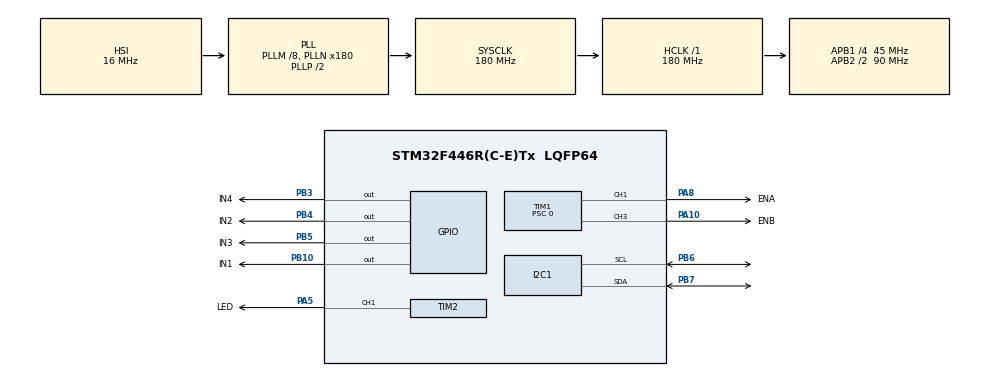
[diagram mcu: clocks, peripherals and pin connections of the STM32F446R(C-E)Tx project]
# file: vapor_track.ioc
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FREERTOS.Tasks01=Task1,8,128,StartDefaultTask,Default,NULL,Dynamic,NULL,NULL;Task2,16,128,StartTask02,Default,NULL,Dynamic,NULL,NULL;Task3,24,128,StartTask03,Default,NULL,Dynamic,NULL,NULL;Task4,32,128,StartTask04,Default,NULL,Dynamic,NULL,NULL
Mcu.Family=STM32F4
Mcu.Name=STM32F446R(C-E)Tx
Mcu.Package=LQFP64
NVIC.PriorityGroup=NVIC_PRIORITYGROUP_4
NVIC.TIM6_DAC_IRQn=true\:15\:0\:false\:false\:true\:false\:false\:true\:true
NVIC.TimeBase=TIM6_DAC_IRQn
NVIC.TimeBaseIP=TIM6
PA10.GPIO_Label=ENB
PA10.Signal=S_TIM1_CH3
PA13.Mode=Serial_Wire
PA13.Signal=SYS_JTMS-SWDIO
PA14.Mode=Serial_Wire
PA14.Signal=SYS_JTCK-SWCLK
PA5.GPIO_Label=LED
PA5.Signal=S_TIM2_CH1_ETR
PA8.GPIO_Label=ENA
PA8.Signal=S_TIM1_CH1
PB10.GPIO_Label=IN1
PB10.Signal=GPIO_Output
PB3.GPIO_Label=IN4
PB3.Signal=GPIO_Output
PB4.GPIO_Label=IN2
PB4.Signal=GPIO_Output
PB5.GPIO_Label=IN3
PB5.Signal=GPIO_Output
PB6.Mode=I2C
PB6.Signal=I2C1_SCL
PB7.Mode=I2C
PB7.Signal=I2C1_SDA
ProjectManager.HeapSize=0x200
ProjectManager.StackSize=0x400
ProjectManager.TargetToolchain=CMake
RCC.AHBFreq_Value=180000000
RCC.APB1CLKDivider=RCC_HCLK_DIV4
RCC.APB1Freq_Value=45000000
RCC.APB1TimFreq_Value=90000000
RCC.APB2CLKDivider=RCC_HCLK_DIV2
RCC.APB2Freq_Value=90000000
RCC.APB2TimFreq_Value=180000000
RCC.CortexFreq_Value=180000000
RCC.HCLKFreq_Value=180000000
RCC.PLLM=8
RCC.PLLN=180
RCC.SYSCLKFreq_VALUE=180000000
RCC.SYSCLKSource=RCC_SYSCLKSOURCE_PLLCLK
RCC.USBFreq_Value=180000000
RCC.VCOOutputFreq_Value=360000000
SH.S_TIM1_CH1.0=TIM1_CH1,PWM Generation1 CH1
SH.S_TIM1_CH3.0=TIM1_CH3,PWM Generation3 CH3
SH.S_TIM2_CH1_ETR.0=TIM2_CH1,PWM Generation1 CH1
TIM1.AutoReloadPreload=TIM_AUTORELOAD_PRELOAD_ENABLE
TIM1.Channel-PWM\ Generation1\ CH1=TIM_CHANNEL_1
TIM1.Channel-PWM\ Generation3\ CH3=TIM_CHANNEL_3
TIM1.Period=8999
TIM1.Prescaler=0
TIM1.Pulse-PWM\ Generation1\ CH1=4500
TIM2.Channel-PWM\ Generation1\ CH1=TIM_CHANNEL_1
TIM2.Period=65535
VP_FREERTOS_VS_CMSIS_V2.Mode=CMSIS_V2
VP_SYS_VS_tim6.Mode=TIM6
board=custom

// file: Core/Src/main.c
/* USER CODE BEGIN Header */
/**
 ******************************************************************************
 * @file           : main.c
 * @brief          : Main program body
 ******************************************************************************
 * @attention
 *
 * Copyright (c) 2026 STMicroelectronics.
 * All rights reserved.
 *
 * This software is licensed under terms that can be found in the LICENSE file
 * in the root directory of this software component.
 * If no LICENSE file comes with this software, it is provided AS-IS.
 *
 ******************************************************************************
 */
/* USER CODE END Header */
#include "main.h"
#include "cmsis_os.h"

/* USER CODE BEGIN Includes */
#include "auto.h"
#include "cmsis_os2.h"

/* USER CODE END Includes */

I2C_HandleTypeDef hi2c1;

TIM_HandleTypeDef htim1;
TIM_HandleTypeDef htim2;

/* Definitions for Task1 */
osThreadId_t Task1Handle;
const osThreadAttr_t Task1_attributes = {
    .name = "Task1",
    .stack_size = 128 * 4,
    .priority = (osPriority_t)osPriorityLow,
};
/* Definitions for Task2 */
osThreadId_t Task2Handle;
const osThreadAttr_t Task2_attributes = {
    .name = "Task2",
    .stack_size = 128 * 4,
    .priority = (osPriority_t)osPriorityBelowNormal,
};
/* Definitions for Task3 */
osThreadId_t Task3Handle;
const osThreadAttr_t Task3_attributes = {
    .name = "Task3",
    .stack_size = 128 * 4,
    .priority = (osPriority_t)osPriorityNormal,
};
/* Definitions for Task4 */
osThreadId_t Task4Handle;
const osThreadAttr_t Task4_attributes = {
    .name = "Task4",
    .stack_size = 128 * 4,
    .priority = (osPriority_t)osPriorityAboveNormal,
};

void SystemClock_Config(void);
static void MX_GPIO_Init(void);
static void MX_I2C1_Init(void);
static void MX_TIM1_Init(void);
static void MX_TIM2_Init(void);
void StartDefaultTask(void *argument);
void StartTask02(void *argument);
void StartTask03(void *argument);
void StartTask04(void *argument);

int main(void) {

  /* MCU Configuration--------------------------------------------------------*/

  /* Reset of all peripherals, Initializes the Flash interface and the Systick.
   */
  HAL_Init();

  /* Configure the system clock */
  SystemClock_Config();

  /* Initialize all configured peripherals */
  MX_GPIO_Init();
  MX_I2C1_Init();
  MX_TIM1_Init();
  MX_TIM2_Init();
  /* USER CODE BEGIN 2 */

  HAL_TIM_PWM_Start(&htim1, TIM_CHANNEL_1);
  HAL_TIM_PWM_Start(&htim1, TIM_CHANNEL_3);
  HAL_TIM_PWM_Start(&htim2, TIM_CHANNEL_1);

  /* USER CODE END 2 */

  /* Init scheduler */
  osKernelInitialize();

  /* Create the thread(s) */
  /* creation of Task1 */
  Task1Handle = osThreadNew(StartDefaultTask, NULL, &Task1_attributes);

  /* creation of Task2 */
  Task2Handle = osThreadNew(StartTask02, NULL, &Task2_attributes);

  /* creation of Task3 */
  Task3Handle = osThreadNew(StartTask03, NULL, &Task3_attributes);

  /* creation of Task4 */
  Task4Handle = osThreadNew(StartTask04, NULL, &Task4_attributes);

  /* Start scheduler */
  osKernelStart();

  /* We should never get here as control is now taken by the scheduler */

  /* Infinite loop */
  while (1) {

  }
}

void SystemClock_Config(void) {
  RCC_OscInitTypeDef RCC_OscInitStruct = {0};
  RCC_ClkInitTypeDef RCC_ClkInitStruct = {0};

  /** Configure the main internal regulator output voltage
   */
  __HAL_RCC_PWR_CLK_ENABLE();
  __HAL_PWR_VOLTAGESCALING_CONFIG(PWR_REGULATOR_VOLTAGE_SCALE1);

  /** Initializes the RCC Oscillators according to the specified parameters
   * in the RCC_OscInitTypeDef structure.
   */
  RCC_OscInitStruct.OscillatorType = RCC_OSCILLATORTYPE_HSI;
  RCC_OscInitStruct.HSIState = RCC_HSI_ON;
  RCC_OscInitStruct.HSICalibrationValue = RCC_HSICALIBRATION_DEFAULT;
  RCC_OscInitStruct.PLL.PLLState = RCC_PLL_ON;
  RCC_OscInitStruct.PLL.PLLSource = RCC_PLLSOURCE_HSI;
  RCC_OscInitStruct.PLL.PLLM = 8;
  RCC_OscInitStruct.PLL.PLLN = 180;
  RCC_OscInitStruct.PLL.PLLP = RCC_PLLP_DIV2;
  RCC_OscInitStruct.PLL.PLLQ = 2;
  RCC_OscInitStruct.PLL.PLLR = 2;
  if (HAL_RCC_OscConfig(&RCC_OscInitStruct) != HAL_OK) {
    Error_Handler();
  }

  /** Activate the Over-Drive mode
   */
  if (HAL_PWREx_EnableOverDrive() != HAL_OK) {
    Error_Handler();
  }

  /** Initializes the CPU, AHB and APB buses clocks
   */
  RCC_ClkInitStruct.ClockType = RCC_CLOCKTYPE_HCLK | RCC_CLOCKTYPE_SYSCLK |
                                RCC_CLOCKTYPE_PCLK1 | RCC_CLOCKTYPE_PCLK2;
  RCC_ClkInitStruct.SYSCLKSource = RCC_SYSCLKSOURCE_PLLCLK;
  RCC_ClkInitStruct.AHBCLKDivider = RCC_SYSCLK_DIV1;
  RCC_ClkInitStruct.APB1CLKDivider = RCC_HCLK_DIV4;
  RCC_ClkInitStruct.APB2CLKDivider = RCC_HCLK_DIV2;

  if (HAL_RCC_ClockConfig(&RCC_ClkInitStruct, FLASH_LATENCY_5) != HAL_OK) {
    Error_Handler();
  }
}

static void MX_I2C1_Init(void) {

  hi2c1.Instance = I2C1;
  hi2c1.Init.ClockSpeed = 100000;
  hi2c1.Init.DutyCycle = I2C_DUTYCYCLE_2;
  hi2c1.Init.OwnAddress1 = 0;
  hi2c1.Init.AddressingMode = I2C_ADDRESSINGMODE_7BIT;
  hi2c1.Init.DualAddressMode = I2C_DUALADDRESS_DISABLE;
  hi2c1.Init.OwnAddress2 = 0;
  hi2c1.Init.GeneralCallMode = I2C_GENERALCALL_DISABLE;
  hi2c1.Init.NoStretchMode = I2C_NOSTRETCH_DISABLE;
  if (HAL_I2C_Init(&hi2c1) != HAL_OK) {
    Error_Handler();
  }
}

static void MX_TIM1_Init(void) {

  TIM_MasterConfigTypeDef sMasterConfig = {0};
  TIM_OC_InitTypeDef sConfigOC = {0};
  TIM_BreakDeadTimeConfigTypeDef sBreakDeadTimeConfig = {0};

  htim1.Instance = TIM1;
  htim1.Init.Prescaler = 0;
  htim1.Init.CounterMode = TIM_COUNTERMODE_UP;
  htim1.Init.Period = 8999;
  htim1.Init.ClockDivision = TIM_CLOCKDIVISION_DIV1;
  htim1.Init.RepetitionCounter = 0;
  htim1.Init.AutoReloadPreload = TIM_AUTORELOAD_PRELOAD_ENABLE;
  if (HAL_TIM_PWM_Init(&htim1) != HAL_OK) {
    Error_Handler();
  }
  sMasterConfig.MasterOutputTrigger = TIM_TRGO_RESET;
  sMasterConfig.MasterSlaveMode = TIM_MASTERSLAVEMODE_DISABLE;
  if (HAL_TIMEx_MasterConfigSynchronization(&htim1, &sMasterConfig) != HAL_OK) {
    Error_Handler();
  }
  sConfigOC.OCMode = TIM_OCMODE_PWM1;
  sConfigOC.Pulse = 4500;
  sConfigOC.OCPolarity = TIM_OCPOLARITY_HIGH;
  sConfigOC.OCNPolarity = TIM_OCNPOLARITY_HIGH;
  sConfigOC.OCFastMode = TIM_OCFAST_DISABLE;
  sConfigOC.OCIdleState = TIM_OCIDLESTATE_RESET;
  sConfigOC.OCNIdleState = TIM_OCNIDLESTATE_RESET;
  if (HAL_TIM_PWM_ConfigChannel(&htim1, &sConfigOC, TIM_CHANNEL_1) != HAL_OK) {
    Error_Handler();
  }
  sConfigOC.Pulse = 0;
  if (HAL_TIM_PWM_ConfigChannel(&htim1, &sConfigOC, TIM_CHANNEL_3) != HAL_OK) {
    Error_Handler();
  }
  sBreakDeadTimeConfig.OffStateRunMode = TIM_OSSR_DISABLE;
  sBreakDeadTimeConfig.OffStateIDLEMode = TIM_OSSI_DISABLE;
  sBreakDeadTimeConfig.LockLevel = TIM_LOCKLEVEL_OFF;
  sBreakDeadTimeConfig.DeadTime = 0;
  sBreakDeadTimeConfig.BreakState = TIM_BREAK_DISABLE;
  sBreakDeadTimeConfig.BreakPolarity = TIM_BREAKPOLARITY_HIGH;
  sBreakDeadTimeConfig.AutomaticOutput = TIM_AUTOMATICOUTPUT_DISABLE;
  if (HAL_TIMEx_ConfigBreakDeadTime(&htim1, &sBreakDeadTimeConfig) != HAL_OK) {
    Error_Handler();
  }
  HAL_TIM_MspPostInit(&htim1);
}

static void MX_TIM2_Init(void) {

  TIM_MasterConfigTypeDef sMasterConfig = {0};
  TIM_OC_InitTypeDef sConfigOC = {0};

  htim2.Instance = TIM2;
  htim2.Init.Prescaler = 0;
  htim2.Init.CounterMode = TIM_COUNTERMODE_UP;
  htim2.Init.Period = 65535;
  htim2.Init.ClockDivision = TIM_CLOCKDIVISION_DIV1;
  htim2.Init.AutoReloadPreload = TIM_AUTORELOAD_PRELOAD_DISABLE;
  if (HAL_TIM_PWM_Init(&htim2) != HAL_OK) {
    Error_Handler();
  }
  sMasterConfig.MasterOutputTrigger = TIM_TRGO_RESET;
  sMasterConfig.MasterSlaveMode = TIM_MASTERSLAVEMODE_DISABLE;
  if (HAL_TIMEx_MasterConfigSynchronization(&htim2, &sMasterConfig) != HAL_OK) {
    Error_Handler();
  }
  sConfigOC.OCMode = TIM_OCMODE_PWM1;
  sConfigOC.Pulse = 0;
  sConfigOC.OCPolarity = TIM_OCPOLARITY_HIGH;
  sConfigOC.OCFastMode = TIM_OCFAST_DISABLE;
  if (HAL_TIM_PWM_ConfigChannel(&htim2, &sConfigOC, TIM_CHANNEL_1) != HAL_OK) {
    Error_Handler();
  }
  HAL_TIM_MspPostInit(&htim2);
}

static void MX_GPIO_Init(void) {
  GPIO_InitTypeDef GPIO_InitStruct = {0};

  /* GPIO Ports Clock Enable */
  __HAL_RCC_GPIOA_CLK_ENABLE();
  __HAL_RCC_GPIOB_CLK_ENABLE();

  /*Configure GPIO pin Output Level */
  HAL_GPIO_WritePin(GPIOB, IN1_Pin | IN4_Pin | IN2_Pin | IN3_Pin,
                    GPIO_PIN_RESET);

  /*Configure GPIO pins : IN1_Pin IN4_Pin IN2_Pin IN3_Pin */
  GPIO_InitStruct.Pin = IN1_Pin | IN4_Pin | IN2_Pin | IN3_Pin;
  GPIO_InitStruct.Mode = GPIO_MODE_OUTPUT_PP;
  GPIO_InitStruct.Pull = GPIO_NOPULL;
  GPIO_InitStruct.Speed = GPIO_SPEED_FREQ_LOW;
  HAL_GPIO_Init(GPIOB, &GPIO_InitStruct);

}

/* USER CODE BEGIN 4 */

uint32_t CH1_DC = 0;

/* USER CODE END 4 */

void StartDefaultTask(void *argument) {
  /* USER CODE BEGIN 5 */

  /* Infinite loop */
  for (;;) {
    // pulsing led test pwm
    // while (CH1_DC < 65535) {
    //   TIM2->CCR1 = CH1_DC;
    //   CH1_DC += 70;
    //   osDelay(1);
    // }
    // osDelay(1000);
    // while (CH1_DC > 0) {
    //   TIM2->CCR1 = CH1_DC;
    //   CH1_DC -= 700;
    //   osDelay(1);
    // }
    TIM2->CCR1 = 30000;
    osDelay(1000);
    TIM2->CCR1 = 60000;
    osDelay(1000);

    // 111
  }
  /* USER CODE END 5 */
}

void StartTask02(void *argument) {
  /* USER CODE BEGIN StartTask02 */
  /* Infinite loop */
  // ARR = 65535
  // duty cycle = CRR /(ARR + 1)
  // TODO: TEST THIS
  for (;;) {

    TIM1->CCR1 = 8999 / 1.1;
    TIM1->CCR3 = 8999 / 1.1;
    forward();
    osDelay(1000);
    stop();
    osDelay(500);
    reverse();
    osDelay(1000);
    stop();
    osDelay(1000);

    turn_right();

    osDelay(1000);
    stop();
    osDelay(500);
    turn_left();
    osDelay(1000);
    //    TIM1->CCR1 = 65535 / 2; // % 50 duty cycle
    //   TIM1->CCR3 = 65535 / 1; // % 50 duty cycle
    osDelay(1);
  }

  // 2222
  /* USER CODE END StartTask02 */
}

void StartTask03(void *argument) {
  /* USER CODE BEGIN StartTask03 */
  /* Infinite loop */
  for (;;) {

    // try simple polling for now

    // dma mode
    // 0x77 is the address for the bme688
    // uint16_t bme688_dev_addr = 0x77;
    // uint8_t pData;
    // uint16_t Size;
    // HAL_I2C_Master_Transmit_DMA(&hi2c1, bme688_dev_addr, &pData, Size);
    osDelay(1);
  }
  /* USER CODE END StartTask03 */
}

void StartTask04(void *argument) {
  /* USER CODE BEGIN StartTask04 */
  /* Infinite loop */
  for (;;) {

    //    HAL_GPIO_TogglePin(LED_GPIO_Port, LED_Pin);
    osDelay(1000);
  }
  /* USER CODE END StartTask04 */
}

void HAL_TIM_PeriodElapsedCallback(TIM_HandleTypeDef *htim) {
  if (htim->Instance == TIM6) {
    HAL_IncTick();
  }
}

void Error_Handler(void) {
  __disable_irq();
  while (1) {
  }
}
#ifdef USE_FULL_ASSERT
/**
 * @brief  Reports the name of the source file and the source line number
 *         where the assert_param error has occurred.
 * @param  file: pointer to the source file name
 * @param  line: assert_param error line source number
 * @retval None
 */
void assert_failed(uint8_t *file, uint32_t line) {
  /* USER CODE BEGIN 6 */
  /* User can add his own implementation to report the file name and line
     number, ex: printf("Wrong parameters value: file %s on line %d\r\n", file,
     line) */
  /* USER CODE END 6 */
}
#endif /* USE_FULL_ASSERT */
